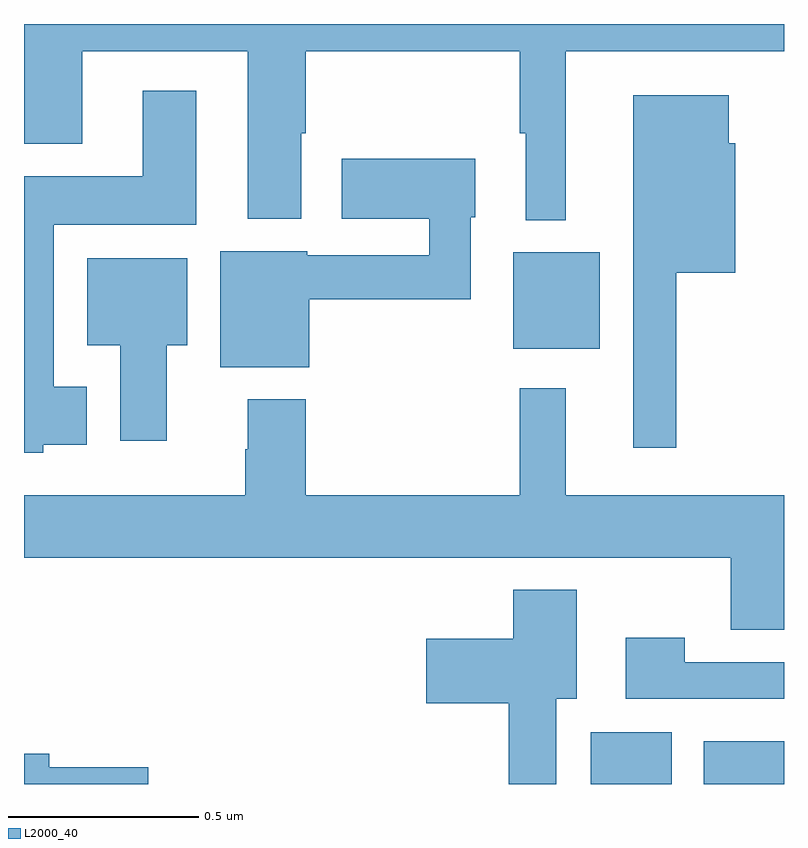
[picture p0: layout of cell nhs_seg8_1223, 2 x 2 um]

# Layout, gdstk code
import gdstk
lib = gdstk.Library(unit=1e-6, precision=1e-09)
def R(c, l, rs):  # rectangles x0, y0, x1, y1
    for r in rs: c.add(gdstk.rectangle(r[:2], r[2:], *l))
def P(c, l, *ps):  # polygons
    for p in ps: c.add(gdstk.Polygon(p, *l))
L2000_40 = (2000, 40)

nhs_seg8_1223 = lib.new_cell('nhs_seg8_1223')
R(nhs_seg8_1223, L2000_40, [(128.492,1119.9,128.704,1120.036), (128.789,1119.9,129,1120.012), (128.288,1121.045,128.515,1121.299)])
P(nhs_seg8_1223, L2000_40, [(128.425,1121.828),(129,1121.828),(129,1121.9),(127,1121.9),(127,1121.828),(127.001,1121.828),(127.001,1121.585),(127.153,1121.585),(127.153,1121.828),(127.589,1121.828),(127.589,1121.387),(127.729,1121.387),(127.729,1121.613),(127.742,1121.613),(127.742,1121.828),(128.304,1121.828),(128.304,1121.612),(128.321,1121.612),(128.321,1121.384),(128.425,1121.384)],
  [(127.05,1120.793),(127.165,1120.793),(127.165,1120.945),(127.078,1120.945),(127.078,1121.372),(127.453,1121.372),(127.453,1121.725),(127.313,1121.725),(127.313,1121.5),(127,1121.5),(127,1120.772),(127.05,1120.772)],
  [(128.717,1121.246),(128.872,1121.246),(128.872,1121.586),(128.854,1121.586),(128.854,1121.713),(128.603,1121.713),(128.603,1120.785),(128.717,1120.785)],
  [(127.75,1121.176),(128.175,1121.176),(128.175,1121.391),(128.188,1121.391),(128.188,1121.545),(127.836,1121.545),(127.836,1121.387),(128.067,1121.387),(128.067,1121.292),(127.746,1121.292),(127.746,1121.302),(127.517,1121.302),(127.517,1120.997),(127.75,1120.997)],
  [(127.375,1121.054),(127.429,1121.054),(127.429,1121.284),(127.166,1121.284),(127.166,1121.054),(127.253,1121.054),(127.253,1120.803),(127.375,1120.803)],
  [(129,1120.66),(128.425,1120.66),(128.425,1120.942),(128.304,1120.942),(128.304,1120.66),(127.742,1120.66),(127.742,1120.912),(127.589,1120.912),(127.589,1120.781),(127.582,1120.781),(127.582,1120.66),(127,1120.66),(127,1120.496),(128.86,1120.496),(128.86,1120.306),(129,1120.306)],
  [(128.401,1120.124),(128.455,1120.124),(128.455,1120.411),(128.288,1120.411),(128.288,1120.282),(128.058,1120.282),(128.058,1120.112),(128.276,1120.112),(128.276,1119.9),(128.401,1119.9)],
  [(129,1120.221),(128.739,1120.221),(128.739,1120.285),(128.583,1120.285),(128.583,1120.125),(129,1120.125)],
  [(127.327,1119.944),(127.066,1119.944),(127.066,1119.98),(127,1119.98),(127,1119.9),(127.327,1119.9)])

lib.write_gds('nhs_seg8_1223.gds')
